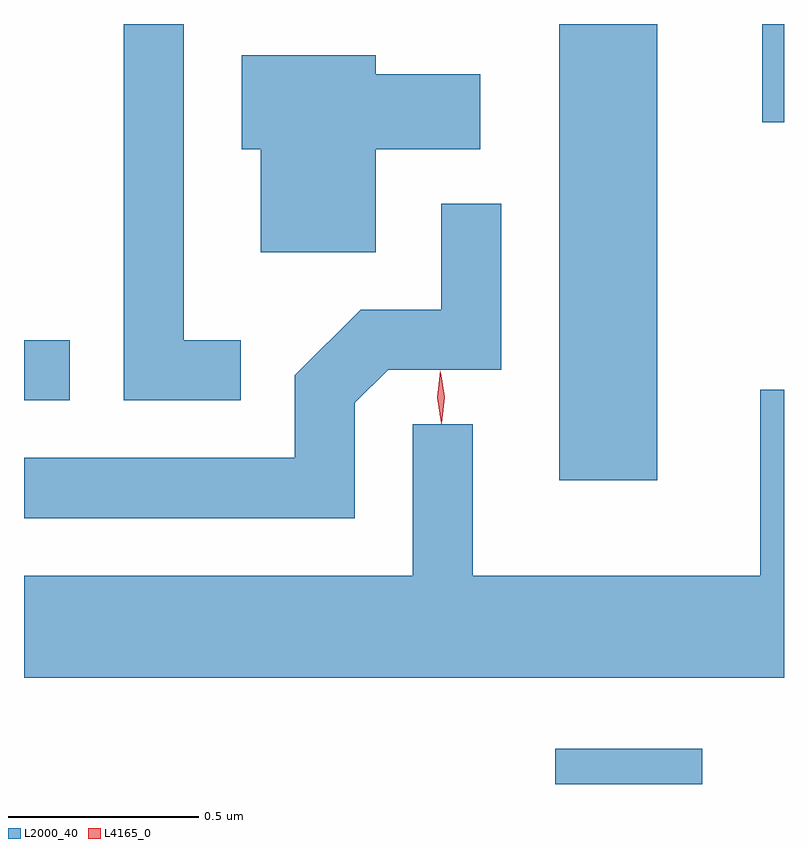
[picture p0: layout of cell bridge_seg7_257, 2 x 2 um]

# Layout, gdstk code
import gdstk
lib = gdstk.Library(unit=1e-6, precision=1e-09)
def R(c, l, rs):  # rectangles x0, y0, x1, y1
    for r in rs: c.add(gdstk.rectangle(r[:2], r[2:], *l))
def P(c, l, *ps):  # polygons
    for p in ps: c.add(gdstk.Polygon(p, *l))
L2000_40 = (2000, 40)
L4165_0 = (4165, 0)

bridge_seg7_257 = lib.new_cell('bridge_seg7_257')
R(bridge_seg7_257, L2000_40, [(1795.556,1720.696,1795.943,1720.789), (1795.566,1721.496,1795.824,1722.696), (1794.158,1721.706,1794.278,1721.864), (1796.101,1722.438,1796.158,1722.696)])
P(bridge_seg7_257, L2000_40, [(1794.728,1721.864),(1794.579,1721.864),(1794.579,1722.696),(1794.421,1722.696),(1794.421,1721.706),(1794.728,1721.706)],
  [(1795.084,1722.366),(1795.359,1722.366),(1795.359,1722.564),(1795.084,1722.564),(1795.084,1722.614),(1794.731,1722.614),(1794.731,1722.366),(1794.781,1722.366),(1794.781,1722.096),(1795.084,1722.096)],
  [(1795.029,1721.699),(1795.117,1721.786),(1795.414,1721.786),(1795.414,1722.223),(1795.256,1722.223),(1795.256,1721.944),(1795.044,1721.944),(1794.871,1721.772),(1794.871,1721.554),(1794.158,1721.554),(1794.158,1721.396),(1795.029,1721.396)],
  [(1796.158,1721.733),(1796.096,1721.733),(1796.096,1721.244),(1795.339,1721.244),(1795.339,1721.643),(1795.181,1721.643),(1795.181,1721.244),(1794.158,1721.244),(1794.158,1720.976),(1796.158,1720.976)])
P(bridge_seg7_257, L4165_0, [(1795.257,1721.647),(1795.256,1721.648),(1795.245,1721.714),(1795.254,1721.78),(1795.254,1721.781),(1795.255,1721.78),(1795.265,1721.714),(1795.257,1721.648)],
  [(1795.256,1721.644),(1795.256,1721.645),(1795.245,1721.713),(1795.253,1721.783),(1795.254,1721.783),(1795.254,1721.783),(1795.265,1721.714),(1795.257,1721.645)])

lib.write_gds('bridge_seg7_257.gds')
